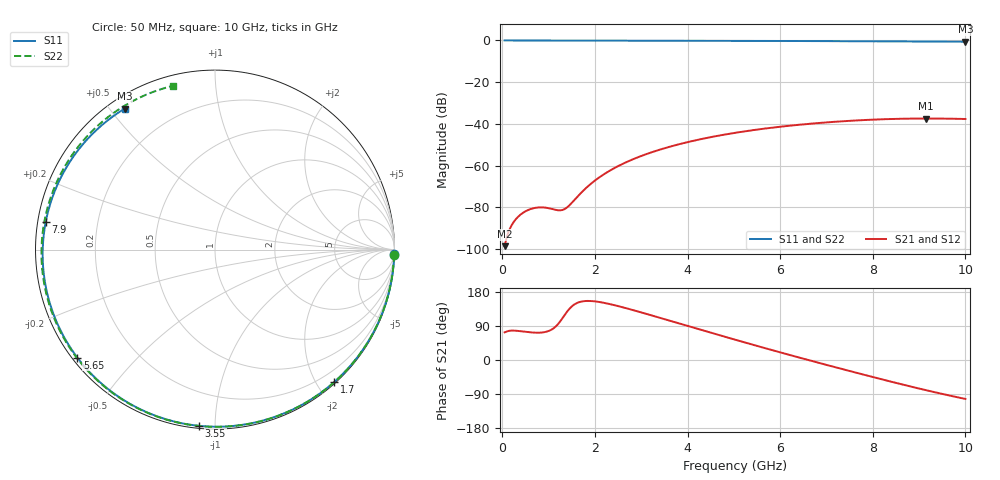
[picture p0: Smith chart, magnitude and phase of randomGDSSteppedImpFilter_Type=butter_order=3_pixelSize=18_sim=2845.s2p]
! freq	dB(S11)	phase(S11)	dB(S12)	phase(S12)
!  dB(S21)	phase(S21)	dB(S22)	phase(S22)
!S-par simulation data
#  GHz  S  DB  R 50
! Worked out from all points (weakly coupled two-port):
!   200 points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, 50 MHz to 10 GHz, reference 50 ohm
!   highest |S21| = -37.40 dB at 9.15 GHz (marker M1); lowest = -98.6 dB at 50 MHz (marker M2)
!   lowest |S11| = -0.6 dB at 10 GHz (marker M3), VSWR 28.67, Z = 2.27 + j27.4 ohm
!   |S11| at or under -10 dB: nowhere
!   |S22| runs from -0.5 to 0.0 dB; largest |S21 - S12| = 0
!   S11 on the Smith chart (normalised r, x): 50 MHz: 1, -81; 1.7 GHz: 0.02, -2.24; 3.55 GHz: 0.01, -0.91; 5.65 GHz: 0.01, -0.35; 7.9 GHz: 0.02, +0.08; 10 GHz: 0.05, +0.55
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0.05  -0.00 -1.4  -98.58 72.9  -98.58 72.9  -0.01 -1.6
0.35  -0.02 -10.1  -84.30 76.6  -84.30 76.6  -0.02 -11.6
0.7  -0.03 -20.2  -80.27 72.2  -80.27 72.2  -0.03 -23.0
1.05  -0.04 -30.1  -80.60 79.2  -80.60 79.2  -0.04 -34.3
1.4  -0.05 -39.9  -79.99 127.8  -79.99 127.8  -0.06 -45.3
1.7  -0.06 -48.1  -73.06 153.9  -73.06 153.9  -0.07 -54.6
1.75  -0.06 -49.4  -71.95 155.1  -71.95 155.1  -0.07 -56.1
2.05  -0.07 -57.5  -66.32 154.0  -66.32 154.0  -0.08 -65.0
2.45  -0.09 -67.9  -60.81 143.9  -60.81 143.9  -0.09 -76.6
2.9  -0.10 -79.3  -56.23 129.1  -56.23 129.1  -0.11 -89.1
3.4  -0.12 -91.6  -52.34 111.5  -52.34 111.5  -0.12 -102.3
3.55  -0.12 -95.1  -51.35 106.1  -51.35 106.1  -0.13 -106.2
4.25  -0.15 -111.3  -47.48 81.1  -47.48 81.1  -0.16 -123.5
5.05  -0.19 -129.0  -44.18 52.8  -44.18 52.8  -0.19 -142.2
5.65  -0.22 -141.9  -42.28 32.1  -42.28 32.1  -0.23 -155.7
6.2  -0.26 -153.5  -40.87 13.5  -40.87 13.5  -0.26 -167.9
6.7  -0.29 -163.9  -39.81 -3.1  -39.81 -3.1  -0.29 -178.9
7.3  -0.34 -176.5  -38.79 -22.6  -38.79 -22.6  -0.33 167.9
7.9  -0.39 170.7  -38.05 -41.7  -38.05 -41.7  -0.38 154.5
8.35  -0.44 160.9  -37.67 -55.8  -37.67 -55.8  -0.41 144.3
9.15  -0.52 142.9  -37.40 -79.7  -37.40 -79.7  -0.47 125.4
10  -0.61 122.6  -37.64 -102.8  -37.64 -102.8  -0.52 104.3
